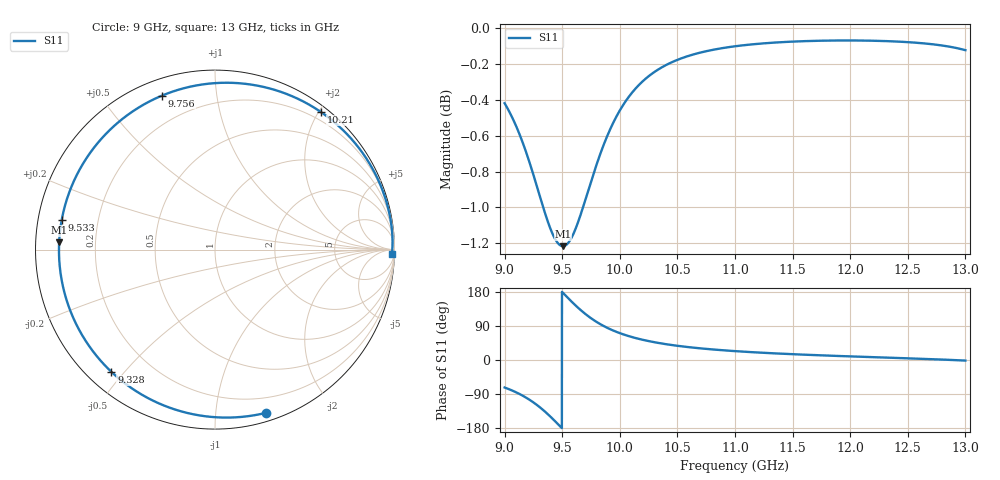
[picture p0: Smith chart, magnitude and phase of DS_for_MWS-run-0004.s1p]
! TOUCHSTONE file generated by CST DESIGN STUDIO
! Date and time: Tue Feb  4 18:42:36 2025
! Project name: C:\Work\MatlabApps\UnitCellOptimizationMatlab\CST\unitcell.cst
! Tree item: Tasks\Sweep1\SPara1\S-Parameters
! Header version: 2024
! Port assignment regex: !\s*Touchstone port\s*([0-9]+)\s*=\s*(CST MWS port|CST DES external port|CST DES block port)\s*(.+)\s* \(\"(.*)\"\)(\s*mode\s*([0-9]+))?.*
! Touchstone port assignment:
! Touchstone port 1 = CST DES external port 1 ("")
# GHz S MA R 50
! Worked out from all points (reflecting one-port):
!   4001 points, 9 GHz to 13 GHz, reference 50 ohm
!   lowest |S11| = -1.2 dB at 9.506 GHz (marker M1), VSWR 14.30, Z = 3.5 + j1.15 ohm
!   phase of S11 starts at -73 deg and turns -289 deg over the sweep
!   S11 on the Smith chart (normalised r, x): 9 GHz: 0.07, -1.36; 9.328 GHz: 0.07, -0.46; 9.533 GHz: 0.07, +0.10; 9.756 GHz: 0.07, +0.71; 10.21 GHz: 0.08, +2.03; 13 GHz: 31, -59
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9  0.953 -72.6
9.087  0.9411 -83.4
9.189  0.923 -99.8
9.261  0.9077 -114.3
9.328  0.8928 -130.3
9.374  0.8834 -142.7
9.422  0.8754 -156.6
9.462  0.871 -168.9
9.5  0.8693 179.2
9.506  0.8693 177.4
9.533  0.8699 168.9
9.586  0.8747 152.7
9.648  0.8848 135.0
9.701  0.8956 121.5
9.756  0.9074 109.0
9.806  0.9177 99.1
9.861  0.928 89.5
10  0.9485 70.9
10.1  0.9589 61.0
10.211  0.9673 52.5
10.344  0.9743 44.6
10.5  0.9799 37.5
10.722  0.9849 30.1
11  0.9885 23.4
11.5  0.9915 15.3
12  0.9922 9.5
12.5  0.9911 4.4
13  0.986 -1.5
